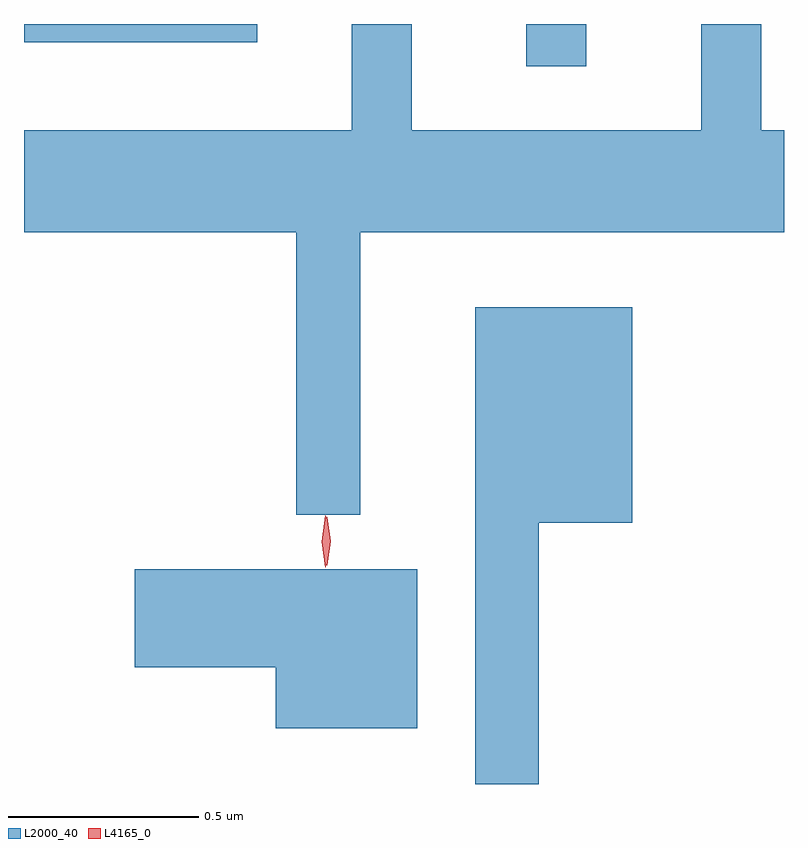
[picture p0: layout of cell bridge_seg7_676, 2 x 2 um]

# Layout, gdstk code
import gdstk
lib = gdstk.Library(unit=1e-6, precision=1e-09)
def R(c, l, rs):  # rectangles x0, y0, x1, y1
    for r in rs: c.add(gdstk.rectangle(r[:2], r[2:], *l))
def P(c, l, *ps):  # polygons
    for p in ps: c.add(gdstk.Polygon(p, *l))
L2000_40 = (2000, 40)
L4165_0 = (4165, 0)

bridge_seg7_676 = lib.new_cell('bridge_seg7_676')
R(bridge_seg7_676, L2000_40, [(898.236,1728.073,898.394,1728.184), (896.914,1728.136,897.528,1728.184)])
P(bridge_seg7_676, L2000_40, [(897.799,1727.636),(898.914,1727.636),(898.914,1727.904),(898.854,1727.904),(898.854,1728.184),(898.696,1728.184),(898.696,1727.904),(897.934,1727.904),(897.934,1728.184),(897.776,1728.184),(897.776,1727.904),(896.914,1727.904),(896.914,1727.636),(897.631,1727.636),(897.631,1726.893),(897.799,1726.893)],
  [(898.269,1726.871),(898.514,1726.871),(898.514,1727.439),(898.101,1727.439),(898.101,1726.184),(898.269,1726.184)],
  [(897.949,1726.749),(897.206,1726.749),(897.206,1726.491),(897.576,1726.491),(897.576,1726.331),(897.949,1726.331)])
P(bridge_seg7_676, L4165_0, [(897.707,1726.754),(897.698,1726.822),(897.707,1726.89),(897.708,1726.89),(897.708,1726.89),(897.718,1726.822),(897.708,1726.754),(897.708,1726.754)],
  [(897.711,1726.76),(897.711,1726.76),(897.701,1726.823),(897.711,1726.886),(897.711,1726.887),(897.712,1726.886),(897.721,1726.823),(897.712,1726.76)])

lib.write_gds('bridge_seg7_676.gds')
